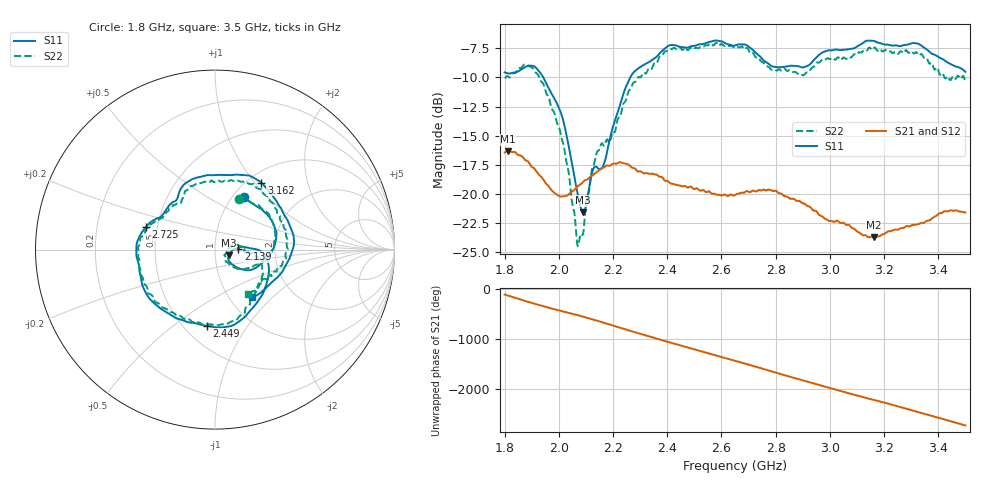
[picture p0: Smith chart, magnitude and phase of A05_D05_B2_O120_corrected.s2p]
! Created with skrf 1.9.0 (http://scikit-rf.org).
# Hz S RI R 50.0
!freq ReS11 ImS11 ReS21 ImS21 ReS12 ImS12 ReS22 ImS22
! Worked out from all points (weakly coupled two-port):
!   1601 points, 1.8 GHz to 3.5 GHz, reference 50 ohm
!   highest |S21| = -16.35 dB at 1.812 GHz (marker M1); lowest = -23.7 dB at 3.162 GHz (marker M2)
!   lowest |S11| = -21.6 dB at 2.09 GHz (marker M3), VSWR 1.18, Z = 58.2 - j3.68 ohm
!   |S11| at or under -10 dB: 1.943 GHz to 2.263 GHz (320.7 MHz wide, 15.2 % of centre)
!   |S22| runs from -24.5 to -7.0 dB; largest |S21 - S12| = 0.0029
!   S11 on the Smith chart (normalised r, x): 1.8 GHz: 1.13, +0.74; 2.139 GHz: 1.30, +0.01; 2.449 GHz: 0.64, -0.67; 2.725 GHz: 0.43, +0.13; 3.162 GHz: 1.15, +1.08; 3.5 GHz: 1.27, -0.75
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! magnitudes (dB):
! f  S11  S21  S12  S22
! 1.8 GHz  -9.6  -16.4  -16.4  -10.1
! 1.812 GHz  -9.6  -16.4  -16.4  -9.9
! 1.88 GHz  -9.1  -17.2  -17.1  -9.0
! 1.941 GHz  -9.9  -18.7  -18.7  -10.5
! 2.013 GHz  -13.4  -20.2  -20.2  -15.4
! 2.068 GHz  -19.8  -19.4  -19.4  -24.3
! 2.084 GHz  -21.4  -19.1  -19.1  -23.4
! 2.09 GHz  -21.6  -19.0  -19.0  -23.3
! 2.139 GHz  -17.7  -18.2  -18.1  -16.5
! 2.166 GHz  -17.5  -17.7  -17.7  -15.9
! 2.205 GHz  -13.9  -17.4  -17.4  -14.7
! 2.264 GHz  -10.0  -17.6  -17.6  -11.0
! 2.367 GHz  -8.1  -18.5  -18.4  -8.4
! 2.449 GHz  -7.4  -19.3  -19.3  -7.5
! 2.65 GHz  -7.3  -20.1  -20.1  -7.4
! 2.725 GHz  -7.9  -19.8  -19.8  -8.2
! 2.796 GHz  -9.1  -19.7  -19.7  -9.3
! 2.934 GHz  -8.7  -21.3  -21.3  -9.2
! 3.162 GHz  -6.9  -23.7  -23.7  -7.5
! 3.217 GHz  -7.2  -23.2  -23.2  -7.8
! 3.324 GHz  -7.1  -22.6  -22.6  -8.0
! 3.5 GHz  -9.5  -21.6  -21.6  -10.3
